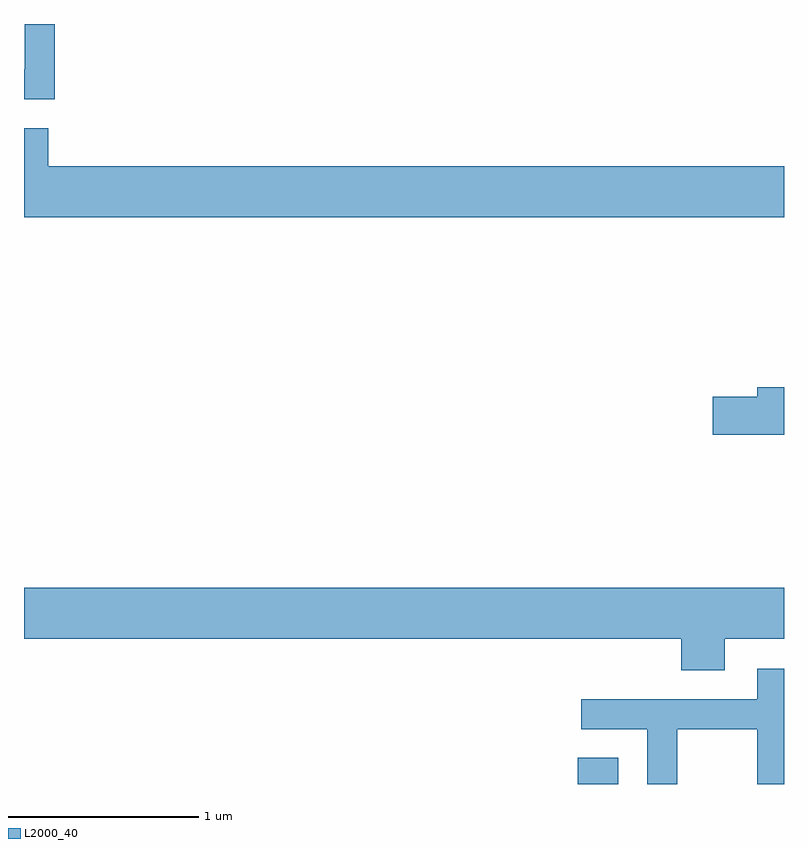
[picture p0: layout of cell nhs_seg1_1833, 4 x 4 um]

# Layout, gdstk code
import gdstk
lib = gdstk.Library(unit=1e-6, precision=1e-09)
def R(c, l, rs):  # rectangles x0, y0, x1, y1
    for r in rs: c.add(gdstk.rectangle(r[:2], r[2:], *l))
def P(c, l, *ps):  # polygons
    for p in ps: c.add(gdstk.Polygon(p, *l))
L2000_40 = (2000, 40)

nhs_seg1_1833 = lib.new_cell('nhs_seg1_1833')
R(nhs_seg1_1833, L2000_40, [(244.526,887.712,244.739,887.849)])
P(nhs_seg1_1833, L2000_40, [(241.774,891.712),(241.616,891.712),(241.616,891.474),(241.611,891.474),(241.611,891.316),(241.774,891.316)],
  [(245.611,890.964),(241.739,890.964),(241.739,891.164),(241.611,891.164),(241.611,890.696),(245.611,890.696)],
  [(245.611,889.799),(245.471,889.799),(245.471,889.749),(245.236,889.749),(245.236,889.551),(245.611,889.551)],
  [(245.299,888.476),(245.611,888.476),(245.611,888.744),(241.611,888.744),(241.611,888.476),(245.071,888.476),(245.071,888.311),(245.299,888.311)],
  [(245.049,888.001),(245.471,888.001),(245.471,887.712),(245.611,887.712),(245.611,888.319),(245.471,888.319),(245.471,888.159),(244.543,888.159),(244.543,888.001),(244.891,888.001),(244.891,887.712),(245.049,887.712)])

lib.write_gds('nhs_seg1_1833.gds')
